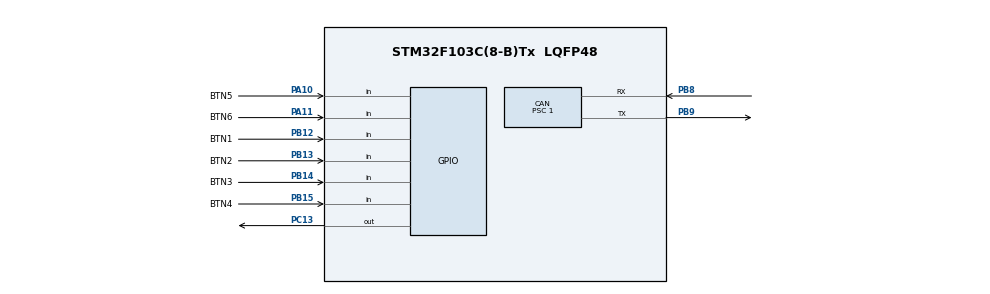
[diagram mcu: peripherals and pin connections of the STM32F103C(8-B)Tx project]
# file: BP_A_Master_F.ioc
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CAN.BS1=CAN_BS1_13TQ
CAN.BS2=CAN_BS2_2TQ
CAN.CalculateBaudRate=500000
CAN.CalculateTimeBit=2000
CAN.CalculateTimeQuantum=125.0
CAN.Prescaler=1
Mcu.Family=STM32F1
Mcu.Name=STM32F103C(8-B)Tx
Mcu.Package=LQFP48
NVIC.PriorityGroup=NVIC_PRIORITYGROUP_4
PA10.GPIO_Label=BTN5
PA10.GPIO_PuPd=GPIO_PULLUP
PA10.Signal=GPIO_Input
PA11.GPIO_Label=BTN6
PA11.GPIO_PuPd=GPIO_PULLUP
PA11.Signal=GPIO_Input
PA13.Mode=Serial_Wire
PA13.Signal=SYS_JTMS-SWDIO
PA14.Mode=Serial_Wire
PA14.Signal=SYS_JTCK-SWCLK
PB12.GPIO_Label=BTN1
PB12.GPIO_PuPd=GPIO_PULLUP
PB12.Signal=GPIO_Input
PB13.GPIO_Label=BTN2
PB13.GPIO_PuPd=GPIO_PULLUP
PB13.Signal=GPIO_Input
PB14.GPIO_Label=BTN3
PB14.GPIO_PuPd=GPIO_PULLUP
PB14.Signal=GPIO_Input
PB15.GPIO_Label=BTN4
PB15.GPIO_PuPd=GPIO_PULLUP
PB15.Signal=GPIO_Input
PB8.Mode=CAN_Activate
PB8.Signal=CAN_RX
PB9.Mode=CAN_Activate
PB9.Signal=CAN_TX
PC13-TAMPER-RTC.PinState=GPIO_PIN_SET
PC13-TAMPER-RTC.Signal=GPIO_Output
PD0-OSC_IN.Mode=HSE-External-Oscillator
PD0-OSC_IN.Signal=RCC_OSC_IN
PD1-OSC_OUT.Mode=HSE-External-Oscillator
PD1-OSC_OUT.Signal=RCC_OSC_OUT
ProjectManager.HeapSize=0x200
ProjectManager.StackSize=0x400
ProjectManager.TargetToolchain=STM32CubeIDE
RCC.APB1Freq_Value=8000000
RCC.APB2Freq_Value=8000000
board=custom

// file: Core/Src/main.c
/* USER CODE BEGIN Header */
/**
  ******************************************************************************
  * @file           : main.c
  * @brief          : Main program body
  ******************************************************************************
  * @attention
  *
  * Copyright (c) 2026 STMicroelectronics.
  * All rights reserved.
  *
  * This software is licensed under terms that can be found in the LICENSE file
  * in the root directory of this software component.
  * If no LICENSE file comes with this software, it is provided AS-IS.
  *
  ******************************************************************************
  */
/* USER CODE END Header */
#include "main.h"
#include "can.h"
#include "gpio.h"

/* USER CODE BEGIN PD */
/* Relacion de transmision en Placa B:
 * Encoder 30 PPR en modo TI1 (x2) = 60 ticks/vuelta de motor.
 * Tornillo sin fin (1 entrada) + corona de 40 dientes = 2400 ticks por vuelta de engranaje (360 grados). */
#define TICKS_PER_GEAR_REV     2400
/* USER CODE END PD */

/* USER CODE BEGIN PV */
/* Estados de anti-rebote para los 4 botones de control de motor (PB12..PB15) */
uint8_t btn1_last_level = GPIO_PIN_SET;
uint8_t btn1_was_pressed = 0;
uint32_t btn1_debounce_time = 0;

uint8_t btn2_last_level = GPIO_PIN_SET;
uint8_t btn2_was_pressed = 0;
uint32_t btn2_debounce_time = 0;

uint8_t btn3_last_level = GPIO_PIN_SET;
uint8_t btn3_was_pressed = 0;
uint32_t btn3_debounce_time = 0;

uint8_t btn4_last_level = GPIO_PIN_SET;
uint8_t btn4_was_pressed = 0;
uint32_t btn4_debounce_time = 0;

/* Estados de anti-rebote para BTN5 y BTN6 (tanto en PA10/PA11 como en PB10/PB11) */
uint8_t btn5_pa_last_level = GPIO_PIN_SET;
uint8_t btn5_pa_was_pressed = 0;
uint32_t btn5_pa_debounce_time = 0;

uint8_t btn6_pa_last_level = GPIO_PIN_SET;
uint8_t btn6_pa_was_pressed = 0;
uint32_t btn6_pa_debounce_time = 0;

uint8_t btn5_pb_last_level = GPIO_PIN_SET;
uint8_t btn5_pb_was_pressed = 0;
uint32_t btn5_pb_debounce_time = 0;

uint8_t btn6_pb_last_level = GPIO_PIN_SET;
uint8_t btn6_pb_was_pressed = 0;
uint32_t btn6_pb_debounce_time = 0;

/* Estado actual reflejado del LED en PB0 de la placa B */
uint8_t current_led_state = 0;

/* --- MODO DE OPERACION Y CONTROL REMOTO (IDE / LIVE EXPRESSIONS) --- */
typedef enum {
  MODE_LOCAL = 0,    /* Modo Local: Pulsadores fisicos BTN1..4 activos, LED apagado */
  MODE_REMOTE = 1    /* Modo Remoto: Control desde PC (IDE), pulsadores locales bloqueados, LED encendido */
} OperatingMode_t;

volatile OperatingMode_t system_mode = MODE_LOCAL;      /* 0 = Local, 1 = Remoto */
volatile uint8_t remote_cmd = 0;                        /* 1..4: Botones, 5..8: Giro +30/+90/+180/+360, 9..12: Giro -30/-90/-180/-360 */
volatile OperatingMode_t last_system_mode = MODE_LOCAL; /* Detector de cambio desde Live Expressions */

/* --- TELEMETRIA DE POSICION Y ESTADO DESDE PLACA B (FASE B) --- */
volatile int32_t live_position = 0;       /* Posicion real del engranaje en grados (360 grados = 2400 ticks) */
volatile int32_t live_position_ticks = 0; /* Posicion cruda en pulsos de encoder recibidos por CAN */
volatile uint8_t live_motor_state = 0;    /* Estado del motor: 0=IDLE, 1=SCANNING, 2=HOMED, 3=HOMING, 4=ERROR */
volatile uint32_t telemetry_counter = 0;  /* Contador de paquetes de telemetria recibidos */
/* USER CODE END PV */

void SystemClock_Config(void);
/* USER CODE BEGIN PFP */
uint8_t CAN_SendMessage(uint32_t stdId, uint8_t dataByte);
uint8_t Button_Edge_Pressed(GPIO_TypeDef* port, uint16_t pin, uint8_t *last_pin_level, uint8_t *was_pressed, uint32_t *last_time);
void Indicate_CAN_Result(uint8_t ack_ok);
void CAN_Filter_Config(void);
void CAN_ProcessRxMessages(void);
/* USER CODE END PFP */

/* USER CODE BEGIN 0 */
/**
  * @brief  Envía un comando de 1 byte por el bus CAN y espera confirmación (ACK)
  * @param  stdId: Identificador estándar CAN (0x010 = Motor/Botones 1..4, 0x020 = LED PB0)
  * @param  dataByte: Dato de 1 byte a transmitir
  * @retval 1 si el nodo esclavo respondió ACK, 0 si hubo timeout/error
  */
uint8_t CAN_SendMessage(uint32_t stdId, uint8_t dataByte)
{
  CAN_TxHeaderTypeDef txHeader;
  uint8_t txData[1];
  uint32_t txMailbox;

  /* Si las casillas de salida quedaron ocupadas por un intento previo fallido, liberarlas */
  if (HAL_CAN_GetTxMailboxesFreeLevel(&hcan) == 0)
  {
    HAL_CAN_AbortTxRequest(&hcan, CAN_TX_MAILBOX0 | CAN_TX_MAILBOX1 | CAN_TX_MAILBOX2);
  }

  txHeader.StdId = stdId;
  txHeader.ExtId = 0x01;
  txHeader.RTR = CAN_RTR_DATA;
  txHeader.IDE = CAN_ID_STD;
  txHeader.DLC = 1;
  txHeader.TransmitGlobalTime = DISABLE;

  txData[0] = dataByte;

  if (HAL_CAN_AddTxMessage(&hcan, &txHeader, txData, &txMailbox) != HAL_OK)
  {
    return 0;
  }

  /* Esperar hasta 25 ms a que la Blue Pill B confirme recepción (ACK) */
  uint32_t t0 = HAL_GetTick();
  while (HAL_CAN_IsTxMessagePending(&hcan, txMailbox))
  {
    if ((HAL_GetTick() - t0) > 25)
    {
      HAL_CAN_AbortTxRequest(&hcan, txMailbox);
      return 0;
    }
  }

  return 1;
}

/**
  * @brief  Restaura el estado del LED integrado PC13 (y titila rápido si faltó el ACK)
  */
void Indicate_CAN_Result(uint8_t ack_ok)
{
  if (!ack_ok)
  {
    for (int i = 0; i < 4; i++)
    {
      HAL_GPIO_TogglePin(GPIOC, GPIO_PIN_13);
      HAL_Delay(40);
    }
  }

  /* Mantener en PC13 el reflejo fiel del estado del LED en PB0 de la placa B */
  if (current_led_state)
  {
    HAL_GPIO_WritePin(GPIOC, GPIO_PIN_13, GPIO_PIN_RESET); /* PC13 ON (activo en bajo) */
  }
  else
  {
    HAL_GPIO_WritePin(GPIOC, GPIO_PIN_13, GPIO_PIN_SET);   /* PC13 OFF */
  }
}

/**
  * @brief  Detector de flanco de bajada con anti-rebote no bloqueante para pulsadores activos en bajo
  */
uint8_t Button_Edge_Pressed(GPIO_TypeDef* port, uint16_t pin, uint8_t *last_pin_level, uint8_t *was_pressed, uint32_t *last_time)
{
  uint8_t current_pin = HAL_GPIO_ReadPin(port, pin);
  uint8_t edge_detected = 0;

  if (current_pin != *last_pin_level)
  {
    *last_time = HAL_GetTick();
    *last_pin_level = current_pin;
  }

  if ((HAL_GetTick() - *last_time) > 40)
  {
    if (current_pin == GPIO_PIN_RESET && !(*was_pressed))
    {
      edge_detected = 1;
      *was_pressed = 1;
    }
    else if (current_pin == GPIO_PIN_SET)
    {
      *was_pressed = 0;
    }
  }

  return edge_detected;
}

/**
  * @brief  Configuracion del filtro CAN para recibir todos los mensajes (incluida telemetria 0x030) en FIFO0
  */
void CAN_Filter_Config(void)
{
  CAN_FilterTypeDef sFilterConfig;

  sFilterConfig.FilterBank = 0;
  sFilterConfig.FilterMode = CAN_FILTERMODE_IDMASK;
  sFilterConfig.FilterScale = CAN_FILTERSCALE_32BIT;
  sFilterConfig.FilterIdHigh = 0x0000;
  sFilterConfig.FilterIdLow = 0x0000;
  sFilterConfig.FilterMaskIdHigh = 0x0000;
  sFilterConfig.FilterMaskIdLow = 0x0000;
  sFilterConfig.FilterFIFOAssignment = CAN_RX_FIFO0;
  sFilterConfig.FilterActivation = ENABLE;
  sFilterConfig.SlaveStartFilterBank = 14;

  if (HAL_CAN_ConfigFilter(&hcan, &sFilterConfig) != HAL_OK)
  {
    Error_Handler();
  }
}

/**
  * @brief  Procesa los mensajes pendientes en FIFO0 de recepcion CAN (Telemetria de Placa B, ID = 0x030)
  */
void CAN_ProcessRxMessages(void)
{
  CAN_RxHeaderTypeDef rxHeader;
  uint8_t rxData[8];

  while (HAL_CAN_GetRxFifoFillLevel(&hcan, CAN_RX_FIFO0) > 0)
  {
    if (HAL_CAN_GetRxMessage(&hcan, CAN_RX_FIFO0, &rxHeader, rxData) == HAL_OK)
    {
      if (rxHeader.StdId == 0x030 && rxHeader.DLC >= 4)
      {
        int32_t raw_ticks = (int32_t)((uint32_t)rxData[0] |
                                      ((uint32_t)rxData[1] << 8) |
                                      ((uint32_t)rxData[2] << 16) |
                                      ((uint32_t)rxData[3] << 24));
        live_position_ticks = raw_ticks;
        live_position = (raw_ticks * 360) / TICKS_PER_GEAR_REV;
        if (rxHeader.DLC >= 5)
        {
          live_motor_state = rxData[4];
        }
        telemetry_counter++;
      }
    }
    else
    {
      break;
    }
  }
}

/**
  * @brief  Callback de interrupcion al recibir un frame CAN en el FIFO0
  */
void HAL_CAN_RxFifo0MsgPendingCallback(CAN_HandleTypeDef *hcanInstance)
{
  UNUSED(hcanInstance);
  CAN_ProcessRxMessages();
}
/* USER CODE END 0 */

int main(void)
{

  /* MCU Configuration--------------------------------------------------------*/

  /* Reset of all peripherals, Initializes the Flash interface and the Systick. */
  HAL_Init();

  /* Configure the system clock */
  SystemClock_Config();

  /* Initialize all configured peripherals */
  MX_GPIO_Init();
  MX_CAN_Init();
  /* USER CODE BEGIN 2 */
  /* 1. Iniciar el periferico CAN con filtro e interrupcion de recepcion FIFO0 */
  CAN_Filter_Config();
  if (HAL_CAN_Start(&hcan) != HAL_OK)
  {
    Error_Handler();
  }
  if (HAL_CAN_ActivateNotification(&hcan, CAN_IT_RX_FIFO0_MSG_PENDING) != HAL_OK)
  {
    Error_Handler();
  }

  /* 2. Destello inicial de 3 parpadeos en PC13 para confirmar inicio correcto */
  for (int i = 0; i < 3; i++)
  {
    HAL_GPIO_WritePin(GPIOC, GPIO_PIN_13, GPIO_PIN_RESET); /* ON */
    HAL_Delay(100);
    HAL_GPIO_WritePin(GPIOC, GPIO_PIN_13, GPIO_PIN_SET);   /* OFF */
    HAL_Delay(100);
  }

  /* Inicialmente apagado reflejando el LED en PB0 apagado */
  current_led_state = 0;
  HAL_GPIO_WritePin(GPIOC, GPIO_PIN_13, GPIO_PIN_SET);
  /* USER CODE END 2 */

  /* Infinite loop */
  /* USER CODE BEGIN WHILE */
  while (1)
  {
    /* 0. Procesar mensajes CAN pendientes en FIFO0 (respaldo por polling + interrupcion) */
    CAN_ProcessRxMessages();

    /* 1. Sincronizacion si el modo se cambia directamente desde la PC (Live Expressions) */
    if (system_mode != last_system_mode)
    {
      if (system_mode == MODE_REMOTE)
      {
        current_led_state = 1;
        uint8_t ok = CAN_SendMessage(0x020, 0x01);
        Indicate_CAN_Result(ok);
      }
      else
      {
        system_mode = MODE_LOCAL;
        current_led_state = 0;
        uint8_t ok = CAN_SendMessage(0x020, 0x00);
        Indicate_CAN_Result(ok);
      }
      last_system_mode = system_mode;
    }

    /* 2. Pulsadores fisicos de seleccion de modo (BTN5 = Modo Local, BTN6 = Modo Remoto) */
    /* BTN5 (PA10 o PB10): MODO LOCAL -> LED PB0 y PC13 APAGADOS */
    uint8_t b5_pa = Button_Edge_Pressed(BTN5_GPIO_Port, BTN5_Pin, &btn5_pa_last_level, &btn5_pa_was_pressed, &btn5_pa_debounce_time);
    uint8_t b5_pb = Button_Edge_Pressed(GPIOB, GPIO_PIN_10, &btn5_pb_last_level, &btn5_pb_was_pressed, &btn5_pb_debounce_time);
    if (b5_pa || b5_pb)
    {
      system_mode = MODE_LOCAL;
      last_system_mode = MODE_LOCAL;
      current_led_state = 0;
      uint8_t ok = CAN_SendMessage(0x020, 0x00);
      Indicate_CAN_Result(ok);
    }

    /* BTN6 (PA11 o PB11): MODO REMOTO -> LED PB0 y PC13 ENCENDIDOS */
    uint8_t b6_pa = Button_Edge_Pressed(BTN6_GPIO_Port, BTN6_Pin, &btn6_pa_last_level, &btn6_pa_was_pressed, &btn6_pa_debounce_time);
    uint8_t b6_pb = Button_Edge_Pressed(GPIOB, GPIO_PIN_11, &btn6_pb_last_level, &btn6_pb_was_pressed, &btn6_pb_debounce_time);
    if (b6_pa || b6_pb)
    {
      system_mode = MODE_REMOTE;
      last_system_mode = MODE_REMOTE;
      current_led_state = 1;
      uint8_t ok = CAN_SendMessage(0x020, 0x01);
      Indicate_CAN_Result(ok);
    }

    /* 3. Ejecucion de Comandos segun el Modo Activo */
    if (system_mode == MODE_LOCAL)
    {
      /* --- MODO LOCAL: COMANDOS DESDE LOS BOTONES FISICOS (BTN1..BTN4) --- */
      /* BTN1 (PB12): Iniciar barrido oscilante de 2 vueltas */
      if (Button_Edge_Pressed(BTN1_GPIO_Port, BTN1_Pin, &btn1_last_level, &btn1_was_pressed, &btn1_debounce_time))
      {
        uint8_t ok = CAN_SendMessage(0x010, 0x01);
        Indicate_CAN_Result(ok);
      }

      /* BTN2 (PB13): Fijar posicion Home */
      if (Button_Edge_Pressed(BTN2_GPIO_Port, BTN2_Pin, &btn2_last_level, &btn2_was_pressed, &btn2_debounce_time))
      {
        uint8_t ok = CAN_SendMessage(0x010, 0x02);
        Indicate_CAN_Result(ok);
      }

      /* BTN3 (PB14): Regresar a posicion Home */
      if (Button_Edge_Pressed(BTN3_GPIO_Port, BTN3_Pin, &btn3_last_level, &btn3_was_pressed, &btn3_debounce_time))
      {
        uint8_t ok = CAN_SendMessage(0x010, 0x03);
        Indicate_CAN_Result(ok);
      }

      /* BTN4 (PB15): Parada de emergencia / Stop */
      if (Button_Edge_Pressed(BTN4_GPIO_Port, BTN4_Pin, &btn4_last_level, &btn4_was_pressed, &btn4_debounce_time))
      {
        uint8_t ok = CAN_SendMessage(0x010, 0x04);
        Indicate_CAN_Result(ok);
      }

      /* En modo local se descartan comandos remotos */
      if (remote_cmd != 0)
      {
        remote_cmd = 0;
      }
    }
    else
    {
      /* --- MODO REMOTO: COMANDOS DESDE LA PC / HMI ---
       *   1: Barrido (BTN1)        5: Giro +30° (+200 ticks)     9: Giro -30° (-200 ticks)
       *   2: Fijar Home (BTN2)     6: Giro +90° (+600 ticks)    10: Giro -90° (-600 ticks)
       *   3: Ir a Home (BTN3)      7: Giro +180° (+1200 ticks)  11: Giro -180° (-1200 ticks)
       *   4: STOP (BTN4)           8: Giro +360° (+2400 ticks)  12: Giro -360° (-2400 ticks)
       */
      if (remote_cmd >= 1 && remote_cmd <= 12)
      {
        uint8_t cmd_to_send = remote_cmd;
        remote_cmd = 0;
        uint8_t ok = CAN_SendMessage(0x010, cmd_to_send);
        Indicate_CAN_Result(ok);
      }
      else if (remote_cmd != 0)
      {
        remote_cmd = 0;
      }

      /* Seguridad de banco: el boton fisico BTN4 (Stop) siempre frena ante emergencias */
      if (Button_Edge_Pressed(BTN4_GPIO_Port, BTN4_Pin, &btn4_last_level, &btn4_was_pressed, &btn4_debounce_time))
      {
        uint8_t ok = CAN_SendMessage(0x010, 0x04);
        Indicate_CAN_Result(ok);
      }
    }

    HAL_Delay(5);
    /* USER CODE END WHILE */

  }
}

void SystemClock_Config(void)
{
  RCC_OscInitTypeDef RCC_OscInitStruct = {0};
  RCC_ClkInitTypeDef RCC_ClkInitStruct = {0};

  /** Initializes the RCC Oscillators according to the specified parameters
  * in the RCC_OscInitTypeDef structure.
  */
  RCC_OscInitStruct.OscillatorType = RCC_OSCILLATORTYPE_HSI;
  RCC_OscInitStruct.HSIState = RCC_HSI_ON;
  RCC_OscInitStruct.HSICalibrationValue = RCC_HSICALIBRATION_DEFAULT;
  RCC_OscInitStruct.PLL.PLLState = RCC_PLL_NONE;
  if (HAL_RCC_OscConfig(&RCC_OscInitStruct) != HAL_OK)
  {
    Error_Handler();
  }

  /** Initializes the CPU, AHB and APB buses clocks
  */
  RCC_ClkInitStruct.ClockType = RCC_CLOCKTYPE_HCLK|RCC_CLOCKTYPE_SYSCLK
                              |RCC_CLOCKTYPE_PCLK1|RCC_CLOCKTYPE_PCLK2;
  RCC_ClkInitStruct.SYSCLKSource = RCC_SYSCLKSOURCE_HSI;
  RCC_ClkInitStruct.AHBCLKDivider = RCC_SYSCLK_DIV1;
  RCC_ClkInitStruct.APB1CLKDivider = RCC_HCLK_DIV1;
  RCC_ClkInitStruct.APB2CLKDivider = RCC_HCLK_DIV1;

  if (HAL_RCC_ClockConfig(&RCC_ClkInitStruct, FLASH_LATENCY_0) != HAL_OK)
  {
    Error_Handler();
  }
}

void Error_Handler(void)
{
  __disable_irq();
  while (1)
  {
  }
}
